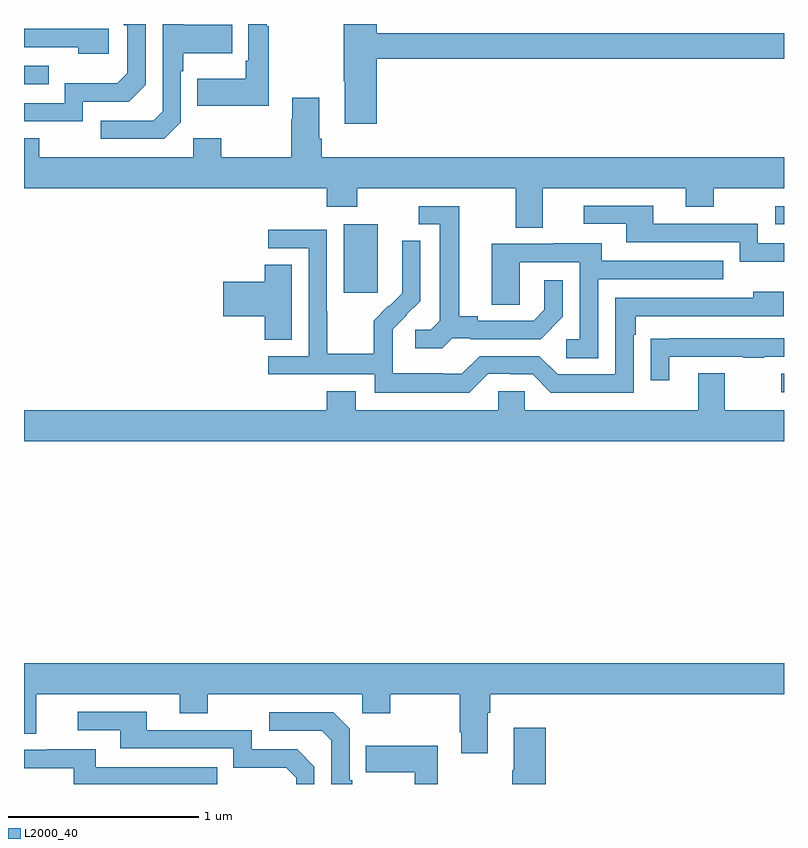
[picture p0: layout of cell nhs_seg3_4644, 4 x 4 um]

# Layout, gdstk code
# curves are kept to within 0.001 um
import gdstk
lib = gdstk.Library(unit=1e-6, precision=1e-09)
def R(c, l, rs):  # rectangles x0, y0, x1, y1
    for r in rs: c.add(gdstk.rectangle(r[:2], r[2:], *l))
def P(c, l, *ps):  # polygons
    for p in ps: c.add(gdstk.Polygon(p, *l))
L2000_40 = (2000, 40)

nhs_seg3_4644 = lib.new_cell('nhs_seg3_4644')
R(nhs_seg3_4644, L2000_40, [(362.985,746.463,363,746.559), (360.683,746.985,360.862,747.346), (362.955,747.345,363,747.441), (359,748.083,359.129,748.179)])
P(nhs_seg3_4644, L2000_40, [(359.826,747.882),(359.826,748.151),(359.839,748.151),(359.839,748.247),(360.095,748.247),(360.095,748.395),(359.839,748.395),(359.839,748.4),(359.73,748.4),(359.73,747.942),(359.679,747.891),(359.403,747.891),(359.403,747.795),(359.739,747.795)],
  [(360.289,748.387),(360.277,748.387),(360.277,748.4),(360.18,748.4),(360.18,748.207),(360.168,748.207),(360.168,748.111),(359.911,748.111),(359.911,747.971),(360.289,747.971)],
  [(359.31,747.99),(359.55,747.99),(359.64,748.08),(359.64,748.4),(359.524,748.4),(359.524,748.394),(359.544,748.394),(359.544,748.14),(359.491,748.087),(359.214,748.087),(359.214,747.984),(359,747.984),(359,747.888),(359.31,747.888)],
  [(360.857,748.216),(363,748.216),(363,748.352),(360.857,748.352),(360.857,748.4),(360.682,748.4),(360.682,748.099),(360.689,748.099),(360.689,747.876),(360.857,747.876)],
  [(359.446,748.374),(359,748.374),(359,748.278),(359.285,748.278),(359.285,748.244),(359.446,748.244)],
  [(361.729,747.536),(362.483,747.536),(362.483,747.437),(362.631,747.437),(362.631,747.536),(363,747.536),(363,747.7),(360.566,747.7),(360.566,747.796),(360.553,747.796),(360.553,748.012),(360.413,748.012),(360.413,747.899),(360.406,747.899),(360.406,747.7),(360.039,747.7),(360.039,747.799),(359.892,747.799),(359.892,747.7),(359.079,747.7),(359.079,747.799),(359,747.799),(359,747.536),(360.593,747.536),(360.593,747.437),(360.753,747.437),(360.753,747.536),(361.589,747.536),(361.589,747.328),(361.729,747.328)],
  [(363,747.246),(362.862,747.246),(362.862,747.348),(362.311,747.348),(362.311,747.444),(361.947,747.444),(361.947,747.348),(362.171,747.348),(362.171,747.252),(362.766,747.252),(362.766,747.149),(363,747.149)],
  [(361.254,746.745),(361.348,746.745),(361.348,746.742),(361.72,746.742),(361.836,746.858),(361.836,747.052),(361.739,747.052),(361.739,746.895),(361.682,746.838),(361.387,746.838),(361.387,746.861),(361.291,746.861),(361.291,747.441),(361.077,747.441),(361.077,747.345),(361.187,747.345),(361.187,746.837),(361.14,746.79),(361.059,746.79),(361.059,746.693),(361.202,746.693)],
  [(361.443,746.559),(361.559,746.559),(361.559,746.556),(361.677,746.556),(361.773,746.46),(362.208,746.46),(362.208,746.765),(362.221,746.765),(362.221,746.862),(362.998,746.862),(362.998,746.992),(362.837,746.992),(362.837,746.958),(362.112,746.958),(362.112,746.556),(361.809,746.556),(361.713,746.652),(361.398,746.652),(361.305,746.559),(361.205,746.559),(361.205,746.563),(360.942,746.563),(360.942,746.697),(360.94,746.697),(360.94,746.794),(361.086,746.942),(361.086,747.26),(360.99,747.26),(360.99,747.106),(360.992,747.106),(360.992,746.984),(360.921,746.913),(360.918,746.916),(360.841,746.839),(360.841,746.665),(360.597,746.665),(360.597,746.888),(360.594,746.888),(360.594,747.318),(360.285,747.318),(360.285,747.219),(360.498,747.219),(360.498,746.652),(360.285,746.652),(360.285,746.556),(360.846,746.556),(360.846,746.459),(361.343,746.459)],
  [(362.022,747.057),(362.681,747.057),(362.681,747.153),(362.041,747.153),(362.041,747.247),(361.787,747.247),(361.787,747.243),(361.463,747.243),(361.463,746.923),(361.608,746.923),(361.608,747.147),(361.926,747.147),(361.926,746.742),(361.854,746.742),(361.854,746.641),(362.022,746.641)],
  [(360.409,747.134),(360.266,747.134),(360.266,747.044),(360.048,747.044),(360.048,746.861),(360.266,746.861),(360.266,746.737),(360.409,746.737)],
  [(362.395,746.649),(362.785,746.649),(362.785,746.644),(362.897,746.644),(362.897,746.649),(363,746.649),(363,746.745),(362.401,746.745),(362.401,746.744),(362.299,746.744),(362.299,746.526),(362.395,746.526)],
  [(363,746.368),(362.689,746.368),(362.689,746.563),(362.549,746.563),(362.549,746.368),(361.635,746.368),(361.635,746.466),(361.497,746.466),(361.497,746.368),(360.745,746.368),(360.745,746.467),(360.593,746.467),(360.593,746.368),(359,746.368),(359,746.204),(363,746.204)],
  [(361.441,744.776),(361.454,744.776),(361.454,744.872),(363,744.872),(363,745.036),(359,745.036),(359,744.664),(359.065,744.664),(359.065,744.872),(359.819,744.872),(359.819,744.773),(359.967,744.773),(359.967,744.872),(360.78,744.872),(360.78,744.773),(360.927,744.773),(360.927,744.872),(361.294,744.872),(361.294,744.673),(361.301,744.673),(361.301,744.561),(361.441,744.561)],
  [(360.528,744.492),(360.438,744.582),(360.198,744.582),(360.198,744.684),(359.647,744.684),(359.647,744.78),(359.283,744.78),(359.283,744.684),(359.507,744.684),(359.507,744.588),(360.102,744.588),(360.102,744.485),(360.379,744.485),(360.432,744.432),(360.432,744.4),(360.528,744.4)],
  [(360.727,744.421),(360.714,744.421),(360.714,744.69),(360.627,744.777),(360.291,744.777),(360.291,744.681),(360.567,744.681),(360.618,744.63),(360.618,744.4),(360.727,744.4)],
  [(361.745,744.697),(361.577,744.697),(361.577,744.473),(361.57,744.473),(361.57,744.4),(361.745,744.4)],
  [(361.177,744.601),(360.799,744.601),(360.799,744.461),(361.056,744.461),(361.056,744.4),(361.177,744.4)],
  [(360.017,744.489),(359.377,744.489),(359.377,744.583),(359.123,744.583),(359.123,744.579),(359,744.579),(359,744.483),(359.262,744.483),(359.262,744.4),(360.017,744.4)])

lib.write_gds('nhs_seg3_4644.gds')
